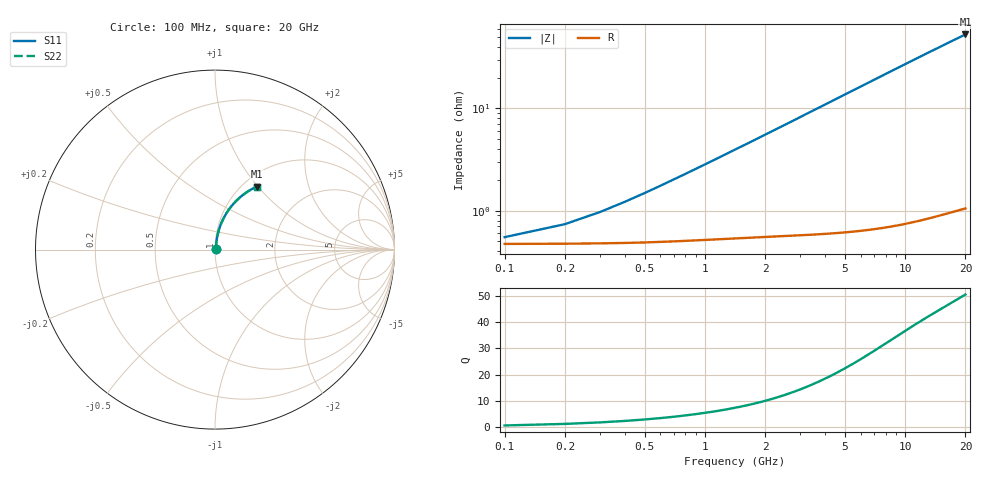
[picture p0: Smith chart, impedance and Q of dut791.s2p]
! Touchstone file exported from HFSS 2026.1.0
!  File:  C:/ffzhzh/LocalFiles/Ansys_Project_Files/temp_train_BSMRDL_791_1783169553_51560.aedt
!  Generated:  08:53:51 PM Jul  4, 2026
!  Design:  BSMRDL
!  Project:  temp_train_BSMRDL_791_1783169553_51560
! Variables:
!  h_bsmrdl = 2.24um
!  h_ox = 20um
!  h_rdl = 5um
!  h_sub = 80um
!  h_tmrdl = 5um
!  h_tsv = 80um
!  h_via = 3um
!  l_bsmrdl = 330.06um
!  l_sub = 730.06um
!  l_tmrdl = 200um
!  m_sub = 200um
!  pitch = 59.49um
!  r_tsv = 6um
!  s_tmrdl = 10um
!  w_bsmrdl = 11.54um
!  w_sub = 500um
!  w_tmrdl = 12um
!  x_tsv_center1 = 206um
!  x_tsv_center2 = 547.6um
!  x_tsv_center3 = 759.6um
!  x_tsv_center4 = 1101.2um
!  x_tsv_center5 = 1313.2um
!  x_tsv_center6 = 1654.8um
# GHz S MA R 50.000000
! Terminal data exported
! Port[1] = BSM_RDL1_1_T1
! Port[2] = BSM_RDL1_1_T2
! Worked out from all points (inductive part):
!   200 points, 100 MHz to 20 GHz, reference 50 ohm
!   read as one part in series: L = 444 pH near 600 MHz
!   highest Q = 50.5 at 20 GHz (marker M1), where L = 422 pH
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0.1  0.005323 27.8  0.9953 -0.2  0.9953 -0.2  0.005323 27.8
! Gamma 0 0 0 0
! Port Impedance 50 0 50 0
0.3  0.008858 56.9  0.9952 -0.5  0.9952 -0.5  0.008858 56.9
0.4  0.01104 63.5  0.9951 -0.7  0.9951 -0.7  0.01104 63.5
0.5  0.01332 67.7  0.9951 -0.9  0.9951 -0.9  0.01332 67.7
0.6  0.01565 70.6  0.995 -1.1  0.995 -1.1  0.01565 70.6
0.7  0.01799 72.7  0.9949 -1.2  0.9949 -1.2  0.01799 72.7
0.9  0.02272 75.5  0.9947 -1.6  0.9947 -1.6  0.02272 75.5
1.2  0.02982 77.8  0.9943 -2.1  0.9943 -2.1  0.02982 77.8
1.4  0.03456 78.7  0.9941 -2.5  0.9941 -2.5  0.03456 78.7
1.7  0.04168 79.5  0.9937 -3.0  0.9937 -3.0  0.04168 79.5
2.2  0.05354 80.2  0.993 -3.8  0.993 -3.8  0.05354 80.2
2.8  0.06776 80.3  0.9921 -4.9  0.9921 -4.9  0.06776 80.3
3.5  0.08431 80.0  0.9907 -6.1  0.9907 -6.1  0.08431 80.0
4.2  0.1008 79.3  0.989 -7.3  0.989 -7.3  0.1008 79.3
5  0.1195 78.4  0.9868 -8.7  0.9868 -8.7  0.1195 78.4
5.9  0.1404 77.3  0.9839 -10.2  0.9839 -10.2  0.1404 77.3
6.8  0.161 76.0  0.9806 -11.7  0.9806 -11.7  0.161 76.0
8.3  0.1947 73.8  0.9741 -14.2  0.9741 -14.2  0.1947 73.8
10.1  0.2339 71.0  0.9651 -17.2  0.9651 -17.2  0.2339 71.0
13.4  0.3019 66.0  0.9453 -22.5  0.9453 -22.5  0.3019 66.0
16.7  0.3642 61.2  0.9225 -27.5  0.9225 -27.5  0.3642 61.2
20  0.4205 56.5  0.8979 -32.2  0.8979 -32.2  0.4205 56.5
